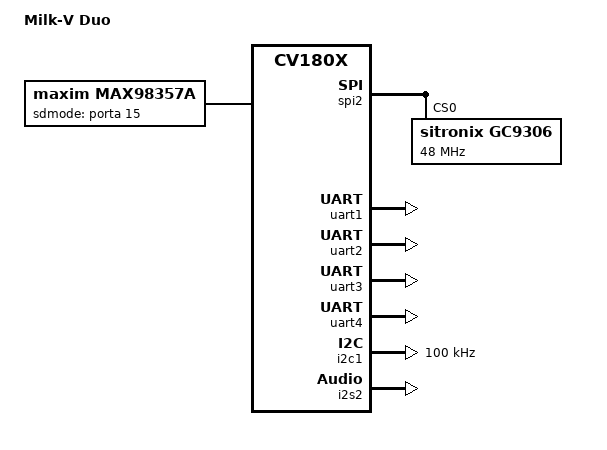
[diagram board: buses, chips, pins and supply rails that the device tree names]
/dts-v1/;
#include "cv180x_base_riscv.dtsi"
#include "cv180x_asic_qfn.dtsi"
#include "cv180x_asic_sd.dtsi"
#include "cv180x_default_memmap.dtsi"

/ {
	model = "Milk-V Duo";
};

&mipi_rx{
	snsr-reset = <&portc 8 GPIO_ACTIVE_LOW>, <&portc 8 GPIO_ACTIVE_LOW>, <&portc 8 GPIO_ACTIVE_LOW>;
};

/* uart0 uses gpioa 16/17 for lcd dc/reset */
&uart0 {
	status = "disabled";
};

&spi2 {
	status = "okay";

	/*
	spidev@0 {
		status = "okay";
	};
	*/

	/delete-node/ spidev@0;

	gc9306: gc9306@0{
		compatible = "sitronix,gc9306";
		reg = <0>;
		status = "okay";
		spi-max-frequency = <48000000>;
		spi-cpol;
		spi-cpha;
		rotate = <90>;
		fps = <30>;
		rgb;
		buswidth = <8>;

		dc = <&porta 16 GPIO_ACTIVE_HIGH>;	//DC
		reset = <&porta 17 GPIO_ACTIVE_HIGH>; //RES
		led = <&porta 14 GPIO_ACTIVE_HIGH>; //BL

		debug = <0x0>;
	};

};

&uart1 {
	status = "okay";
};

&uart2 {
	status = "okay";
};

&uart3 {
	status = "okay";
};

&uart4 {
	status = "okay";
};

&i2c1 {
       status = "okay";
       clock-frequency = <100000>;
};

// [+] youaki, add for speaker
&i2s2 {
	status = "okay";
	#sound-dai-cells = <0>;
};

&ethernet0 {
	status = "disabled";
};

/ {
	/* codec */
	max98357a: max98357a {
		#sound-dai-cells = <0>;
		compatible = "maxim,max98357a";
		status = "okay";

		/* this may be necessary, otherwise driver will not load */
		sdmode-gpios = <&porta 15 0>;
		/* max98357a has gain & sd_mode gpio. but codec driver just has sdmode */

		clocks = <&i2s_mclk 0>;
		clock-names = "i2sclk";
	};

	/* sound_ext3 use external codec */
	sound_max98357a {
		compatible = "cvitek,cv1835-max98357a";
		cvi,card_name = "cv1835_max98357a";
	};

};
